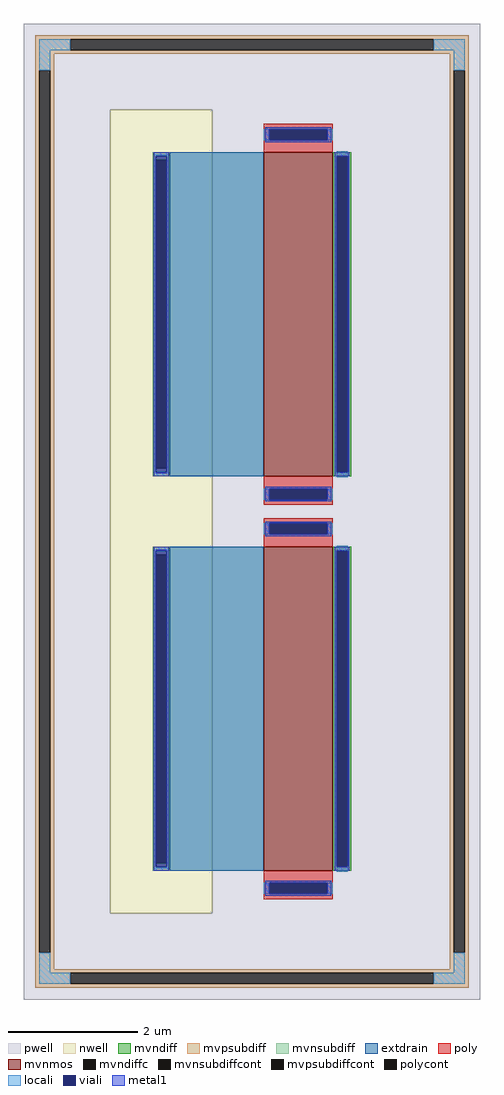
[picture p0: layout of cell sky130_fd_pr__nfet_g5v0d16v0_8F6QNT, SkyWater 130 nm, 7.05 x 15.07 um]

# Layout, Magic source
magic
tech sky130A
magscale 1 2
<< nwell >>
rect -438 -1241 -122 1241
<< pwell >>
rect -705 1241 705 1507
rect -705 -1241 -438 1241
rect -122 -1241 705 1241
rect -705 -1507 705 -1241
<< mvnmos >>
rect 37 109 249 1109
rect 37 -1109 249 -109
<< mvndiff >>
rect 249 1097 307 1109
rect 249 121 261 1097
rect 295 121 307 1097
rect 249 109 307 121
rect 249 -121 307 -109
rect 249 -1097 261 -121
rect 295 -1097 307 -121
rect 249 -1109 307 -1097
<< mvndiffc >>
rect 261 121 295 1097
rect 261 -1097 295 -121
<< mvpsubdiff >>
rect -669 1459 669 1471
rect -669 1425 -561 1459
rect 561 1425 669 1459
rect -669 1413 669 1425
rect -669 1363 -611 1413
rect -669 -1363 -657 1363
rect -623 -1363 -611 1363
rect 611 1363 669 1413
rect -669 -1413 -611 -1363
rect 611 -1363 623 1363
rect 657 -1363 669 1363
rect 611 -1413 669 -1363
rect -669 -1425 669 -1413
rect -669 -1459 -561 -1425
rect 561 -1459 669 -1425
rect -669 -1471 669 -1459
<< mvnsubdiff >>
rect -306 1085 -254 1109
rect -306 133 -297 1085
rect -263 133 -254 1085
rect -306 109 -254 133
rect -306 -133 -254 -109
rect -306 -1085 -297 -133
rect -263 -1085 -254 -133
rect -306 -1109 -254 -1085
<< mvpsubdiffcont >>
rect -561 1425 561 1459
rect -657 -1363 -623 1363
rect 623 -1363 657 1363
rect -561 -1459 561 -1425
<< mvnsubdiffcont >>
rect -297 133 -263 1085
rect -297 -1085 -263 -133
<< extdrain >>
rect -254 109 37 1109
rect -254 -1109 37 -109
<< poly >>
rect 37 1181 249 1197
rect 37 1147 53 1181
rect 233 1147 249 1181
rect 37 1109 249 1147
rect 37 71 249 109
rect 37 37 53 71
rect 233 37 249 71
rect 37 21 249 37
rect 37 -37 249 -21
rect 37 -71 53 -37
rect 233 -71 249 -37
rect 37 -109 249 -71
rect 37 -1147 249 -1109
rect 37 -1181 53 -1147
rect 233 -1181 249 -1147
rect 37 -1197 249 -1181
<< polycont >>
rect 53 1147 233 1181
rect 53 37 233 71
rect 53 -71 233 -37
rect 53 -1181 233 -1147
<< locali >>
rect -657 1425 -561 1459
rect 561 1425 657 1459
rect -657 1363 -623 1425
rect 623 1363 657 1425
rect 37 1147 53 1181
rect 233 1147 249 1181
rect -297 1097 -263 1101
rect -297 117 -263 121
rect 261 1097 295 1113
rect 261 105 295 121
rect 37 37 53 71
rect 233 37 249 71
rect 37 -71 53 -37
rect 233 -71 249 -37
rect -297 -121 -263 -117
rect -297 -1101 -263 -1097
rect 261 -121 295 -105
rect 261 -1113 295 -1097
rect 37 -1181 53 -1147
rect 233 -1181 249 -1147
rect -657 -1425 -623 -1363
rect 623 -1425 657 -1363
rect -657 -1459 -561 -1425
rect 561 -1459 657 -1425
<< viali >>
rect 53 1147 233 1181
rect -297 1085 -263 1097
rect -297 133 -263 1085
rect -297 121 -263 133
rect 261 121 295 1097
rect 53 37 233 71
rect 53 -71 233 -37
rect -297 -133 -263 -121
rect -297 -1085 -263 -133
rect -297 -1097 -263 -1085
rect 261 -1097 295 -121
rect 53 -1181 233 -1147
<< metal1 >>
rect 41 1181 245 1187
rect 41 1147 53 1181
rect 233 1147 245 1181
rect 41 1141 245 1147
rect -303 1097 -257 1109
rect -303 121 -297 1097
rect -263 121 -257 1097
rect -303 109 -257 121
rect 255 1097 301 1109
rect 255 121 261 1097
rect 295 121 301 1097
rect 255 109 301 121
rect 41 71 245 77
rect 41 37 53 71
rect 233 37 245 71
rect 41 31 245 37
rect 41 -37 245 -31
rect 41 -71 53 -37
rect 233 -71 245 -37
rect 41 -77 245 -71
rect -303 -121 -257 -109
rect -303 -1097 -297 -121
rect -263 -1097 -257 -121
rect -303 -1109 -257 -1097
rect 255 -121 301 -109
rect 255 -1097 261 -121
rect 295 -1097 301 -121
rect 255 -1109 301 -1097
rect 41 -1147 245 -1141
rect 41 -1181 53 -1147
rect 233 -1181 245 -1147
rect 41 -1187 245 -1181
<< properties >>
string FIXED_BBOX -640 -1442 640 1442
string gencell sky130_fd_pr__nfet_g5v0d16v0
string library sky130
string parameters w 5.00 l 1.055 m 2 nf 1 diffcov 100 polycov 100 guard 1 glc 1 grc 1 gtc 1 gbc 1 tbcov 100 rlcov 100 topc 1 botc 1 poverlap 0 doverlap 0 lmin 1.050 wmin 5.00 full_metal 1 viasrc 100 viadrn 100 viagate 100 viagb 0 viagr 0 viagl 0 viagt 0
<< end >>
